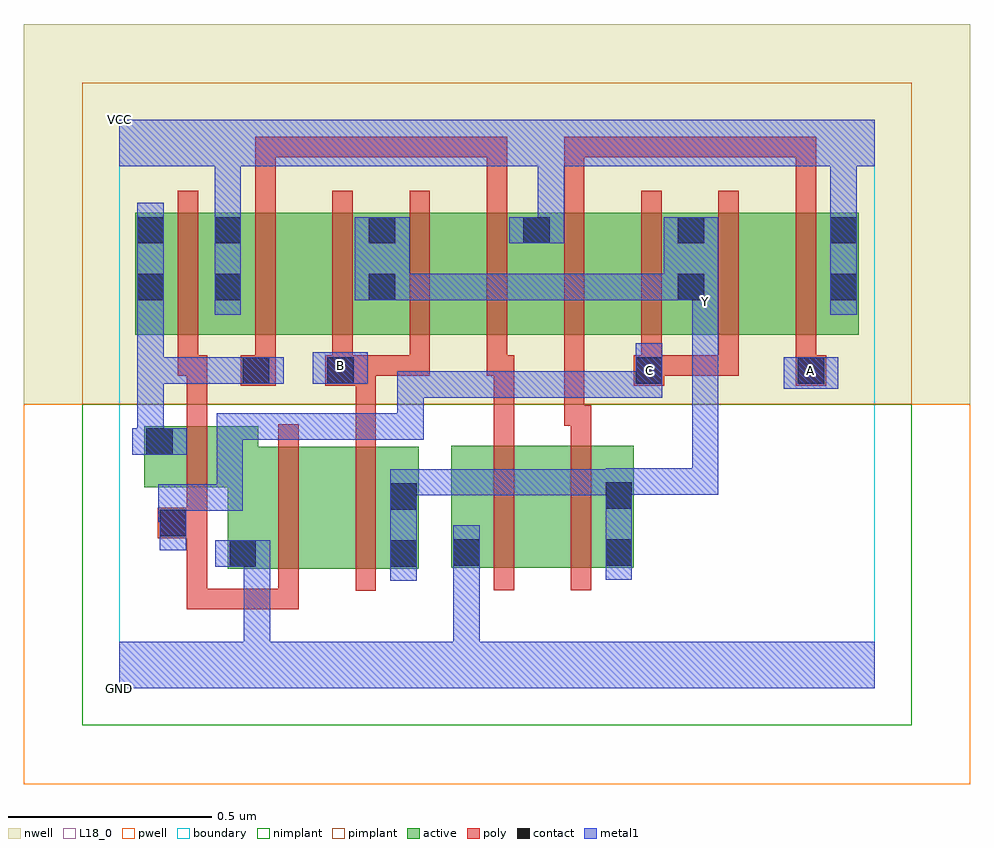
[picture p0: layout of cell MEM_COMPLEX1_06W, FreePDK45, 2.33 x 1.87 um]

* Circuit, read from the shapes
.subckt MEM_COMPLEX1_06W A B C GND VCC Y
M1 GND C n1 VSUBS nfet w=0.15u l=0.05u
M2 n2 C GND VSUBS nfet w=0.3u l=0.05u
M3 Y B n2 VSUBS nfet w=0.3u l=0.05u
M4 n3 n1 GND VSUBS nfet w=0.3u l=0.05u
M5 Y A n3 VSUBS nfet w=0.3u l=0.05u
M6 VCC C n1 n4 pfet w=0.3u l=0.05u
M7 n5 n1 VCC n4 pfet w=0.3u l=0.05u
M8 Y B n5 n4 pfet w=0.3u l=0.05u
M9 n6 B Y n4 pfet w=0.3u l=0.05u
M10 VCC n1 n6 n4 pfet w=0.3u l=0.05u
M11 n7 A VCC n4 pfet w=0.3u l=0.05u
M12 Y C n7 n4 pfet w=0.3u l=0.05u
M13 n8 C Y n4 pfet w=0.3u l=0.05u
M14 VCC A n8 n4 pfet w=0.3u l=0.05u
.ends

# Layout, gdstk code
import gdstk
lib = gdstk.Library(unit=1e-6, precision=1e-09)
def R(c, l, rs):  # rectangles x0, y0, x1, y1
    for r in rs: c.add(gdstk.rectangle(r[:2], r[2:], *l))
def A(c, l, x, y, w, h, nx, ny, dx, dy):  # array of equal rectangles
    R(c, l, [(x+i*dx, y+j*dy, x+i*dx+w, y+j*dy+h) for i in range(nx) for j in range(ny)])
active = (1, 0)
pwell = (2, 0)
nwell = (3, 0)
nimplant = (4, 0)
pimplant = (5, 0)
poly = (9, 0)
contact = (10, 0)
metal1 = (11, 0)
L18_0 = (18, 0)
boundary = (235, 0)

mem_complex1_06w = lib.new_cell('MEM_COMPLEX1_06W')
A(mem_complex1_06w, active, 0.23, 0.87, 0.075, 0.3, 4, 1, 0.38, 0)
A(mem_complex1_06w, active, 0.23, 0.87, 0.225, 0.3, 4, 1, 0.38, 0)
A(mem_complex1_06w, active, 0.455, 0.87, 0.23, 0.3, 3, 1, 0.38, 0)
R(mem_complex1_06w, active, [(0.267,0.295,0.512,0.595), (0.267,0.295,0.342,0.55), (0.512,0.295,0.737,0.595), (0.662,0.295,0.737,0.595), (0.817,0.297,0.892,0.597), (0.817,0.297,1.042,0.597), (1.042,0.297,1.267,0.597), (1.192,0.297,1.267,0.597), (0.062,0.495,0.342,0.645), (0.062,0.495,0.137,0.645), (0.04,0.87,0.305,1.17), (0.04,0.87,0.115,1.165), (1.595,0.87,1.82,1.17), (1.745,0.87,1.82,1.17)])
R(mem_complex1_06w, pwell, [(-0.235,-0.235,2.095,0.7)])
R(mem_complex1_06w, nwell, [(-0.235,0.7,2.095,1.635)])
R(mem_complex1_06w, nimplant, [(-0.09,-0.09,1.95,0.7)])
R(mem_complex1_06w, pimplant, [(-0.09,0.7,1.95,1.49)])
A(mem_complex1_06w, poly, 0.145, 0.77, 0.05, 0.095, 5, 1, 0.19, 0)
A(mem_complex1_06w, poly, 1.285, 0.77, 0.05, 0.095, 3, 1, 0.19, 0)
A(mem_complex1_06w, poly, 0.145, 0.815, 0.05, 0.41, 9, 1, 0.19, 0)
R(mem_complex1_06w, poly, [(0.167,0.195,0.217,0.245), (0.167,0.195,0.217,0.245), (0.167,0.195,0.217,0.245), (0.167,0.195,0.442,0.245), (0.167,0.195,0.217,0.42), (0.392,0.195,0.442,0.245), (0.392,0.195,0.442,0.29), (0.392,0.24,0.442,0.65), (0.582,0.24,0.632,0.65), (0.922,0.242,0.972,0.652), (1.112,0.242,1.162,0.652), (0.095,0.37,0.217,0.445), (0.167,0.395,0.217,0.49), (0.167,0.44,0.217,0.7), (0.582,0.6,0.632,0.795), (0.922,0.602,0.972,0.82), (1.112,0.602,1.162,0.697), (1.095,0.647,1.145,0.865), (1.095,0.647,1.162,0.697), (0.167,0.65,0.217,0.82), (0.3,0.745,0.385,0.82), (0.507,0.745,0.632,0.82), (1.267,0.745,1.342,0.82), (1.665,0.745,1.74,0.82), (0.145,0.77,0.217,0.82), (0.582,0.77,0.765,0.82), (0.715,0.77,0.765,0.82), (0.715,0.77,0.765,0.82), (0.715,0.77,0.765,0.82), (0.905,0.77,0.972,0.82), (1.292,0.77,1.525,0.82), (1.475,0.77,1.525,0.82), (1.475,0.77,1.525,0.82), (1.475,0.77,1.525,0.82), (0.335,1.175,0.385,1.357), (0.905,1.175,0.955,1.357), (1.095,1.175,1.145,1.357), (1.665,1.175,1.715,1.357), (0.335,1.307,0.385,1.357), (0.335,1.307,0.632,1.357), (0.582,1.307,0.632,1.357), (0.582,1.307,0.632,1.357), (0.582,1.307,0.632,1.357), (0.582,1.307,0.765,1.357), (0.715,1.307,0.765,1.357), (0.715,1.307,0.765,1.357), (0.715,1.307,0.765,1.357), (0.715,1.307,0.955,1.357), (0.905,1.307,0.955,1.357), (0.905,1.307,0.955,1.357), (0.905,1.307,0.955,1.357), (1.095,1.307,1.145,1.357), (1.095,1.307,1.392,1.357), (1.342,1.307,1.392,1.357), (1.342,1.307,1.392,1.357), (1.342,1.307,1.392,1.357), (1.342,1.307,1.545,1.357), (1.495,1.307,1.545,1.357), (1.495,1.307,1.545,1.357), (1.495,1.307,1.545,1.357), (1.495,1.307,1.715,1.357), (1.665,1.307,1.715,1.357), (1.665,1.307,1.715,1.357), (1.665,1.307,1.715,1.357)])
A(mem_complex1_06w, contact, 0.235, 1.095, 0.065, 0.065, 4, 1, 0.38, 0)
R(mem_complex1_06w, contact, [(0.272,0.3,0.337,0.365), (0.667,0.3,0.732,0.365), (0.822,0.302,0.887,0.367), (1.197,0.302,1.262,0.367), (0.1,0.375,0.165,0.44), (0.667,0.44,0.732,0.505), (1.197,0.442,1.262,0.507), (0.067,0.575,0.132,0.64), (0.305,0.75,0.37,0.815), (0.512,0.75,0.577,0.815), (1.272,0.75,1.337,0.815), (1.67,0.75,1.735,0.815), (0.045,0.955,0.11,1.02), (0.235,0.955,0.3,1.02), (0.615,0.955,0.68,1.02), (1.375,0.955,1.44,1.02), (1.75,0.955,1.815,1.02), (0.045,1.095,0.11,1.16), (1.75,1.095,1.815,1.16)])
A(mem_complex1_06w, metal1, 0.822, 0.475, 0.203, 0.065, 1, 3, 0, 0.24)
A(mem_complex1_06w, metal1, 0.96, 0.475, 0.202, 0.065, 1, 3, 0, 0.24)
R(mem_complex1_06w, metal1, [(0,0,1.86,0.115), (0.307,0.05,0.372,0.115), (0.307,0.05,0.372,0.115), (0.307,0.05,0.372,0.115), (0.307,0.05,0.372,0.115), (0.307,0.05,0.372,0.365), (0.822,0.05,0.887,0.332), (0.667,0.265,0.732,0.54), (0.822,0.267,0.887,0.332), (0.822,0.267,0.887,0.332), (0.822,0.267,0.887,0.332), (0.822,0.267,0.887,0.332), (0.822,0.267,0.887,0.402), (1.197,0.267,1.262,0.542), (0.237,0.3,0.372,0.365), (0.1,0.34,0.165,0.475), (0.097,0.41,0.162,0.475), (0.097,0.41,0.165,0.475), (0.097,0.41,0.162,0.502), (0.097,0.437,0.162,0.502), (0.097,0.437,0.162,0.502), (0.097,0.437,0.162,0.502), (0.097,0.437,0.305,0.502), (0.24,0.437,0.305,0.502), (0.24,0.437,0.305,0.677), (0.667,0.475,0.887,0.54), (0.822,0.475,0.887,0.54), (0.822,0.475,0.887,0.54), (0.822,0.475,0.887,0.54), (0.822,0.475,0.887,0.54), (0.822,0.475,0.887,0.54), (0.96,0.475,1.025,0.54), (0.96,0.475,1.025,0.54), (0.96,0.475,1.025,0.54), (1.097,0.475,1.162,0.54), (1.097,0.475,1.262,0.54), (1.197,0.477,1.475,0.542), (1.41,0.477,1.475,0.542), (1.41,0.477,1.475,0.542), (1.41,0.477,1.475,0.542), (1.41,0.477,1.475,0.95), (0.032,0.575,0.167,0.64), (0.045,0.575,0.11,0.815), (0.24,0.612,0.305,0.677), (0.24,0.612,0.305,0.677), (0.24,0.612,0.305,0.677), (0.24,0.612,0.505,0.677), (0.44,0.612,0.505,0.677), (0.44,0.612,0.505,0.677), (0.44,0.612,0.505,0.677), (0.44,0.612,0.75,0.677), (0.685,0.612,0.75,0.677), (0.685,0.612,0.75,0.78), (0.685,0.715,0.75,0.78), (0.685,0.715,0.887,0.78), (0.822,0.715,0.887,0.78), (0.822,0.715,0.887,0.78), (0.822,0.715,0.887,0.78), (0.96,0.715,1.025,0.78), (0.96,0.715,1.025,0.78), (0.96,0.715,1.025,0.78), (1.097,0.715,1.162,0.78), (1.097,0.715,1.162,0.78), (1.097,0.715,1.162,0.78), (1.097,0.715,1.337,0.78), (1.272,0.715,1.337,0.85), (1.635,0.737,1.77,0.815), (0.045,0.75,0.11,0.815), (0.045,0.75,0.11,0.815), (0.045,0.75,0.11,0.815), (0.045,0.75,0.335,0.815), (0.045,0.75,0.11,0.985), (0.27,0.75,0.335,0.815), (0.27,0.75,0.335,0.815), (0.27,0.75,0.405,0.815), (0.477,0.75,0.612,0.827), (1.41,0.885,1.475,1.02), (0.045,0.92,0.11,1.195), (0.235,0.92,0.3,1.195), (1.75,0.92,1.815,1.195), (0.58,0.955,0.715,1.16), (0.65,0.955,0.887,1.02), (0.822,0.955,0.887,1.02), (0.822,0.955,0.887,1.02), (0.822,0.955,0.887,1.02), (0.96,0.955,1.025,1.02), (0.96,0.955,1.025,1.02), (0.96,0.955,1.025,1.02), (1.097,0.955,1.162,1.02), (1.097,0.955,1.162,1.02), (1.097,0.955,1.162,1.02), (1.097,0.955,1.405,1.02), (1.34,0.955,1.405,1.02), (1.34,0.955,1.405,1.02), (1.34,0.955,1.475,1.16), (1.41,0.955,1.475,1.02), (0.96,1.095,1.095,1.16), (1.03,1.095,1.095,1.16), (1.03,1.095,1.095,1.16), (1.03,1.095,1.095,1.35), (0.235,1.13,0.3,1.35), (1.75,1.13,1.815,1.195), (1.75,1.13,1.815,1.195), (1.75,1.13,1.815,1.35), (0,1.285,1.86,1.4), (0.235,1.285,0.3,1.35), (0.235,1.285,0.3,1.35)])
A(mem_complex1_06w, L18_0, 0.822, 0.475, 0.203, 0.065, 1, 3, 0, 0.24)
A(mem_complex1_06w, L18_0, 0.96, 0.475, 0.202, 0.065, 1, 3, 0, 0.24)
R(mem_complex1_06w, L18_0, [(0,0,1.86,0.115), (0.307,0.05,0.372,0.115), (0.307,0.05,0.372,0.115), (0.307,0.05,0.372,0.115), (0.307,0.05,0.372,0.115), (0.307,0.05,0.372,0.365), (0.822,0.05,0.887,0.332), (0.667,0.265,0.732,0.54), (0.822,0.267,0.887,0.332), (0.822,0.267,0.887,0.332), (0.822,0.267,0.887,0.332), (0.822,0.267,0.887,0.332), (0.822,0.267,0.887,0.402), (1.197,0.267,1.262,0.542), (0.237,0.3,0.372,0.365), (0.1,0.34,0.165,0.475), (0.097,0.41,0.162,0.475), (0.097,0.41,0.162,0.502), (0.097,0.41,0.165,0.475), (0.097,0.437,0.162,0.502), (0.097,0.437,0.162,0.502), (0.097,0.437,0.162,0.502), (0.097,0.437,0.305,0.502), (0.24,0.437,0.305,0.502), (0.24,0.437,0.305,0.677), (0.667,0.475,0.887,0.54), (0.822,0.475,0.887,0.54), (0.822,0.475,0.887,0.54), (0.822,0.475,0.887,0.54), (0.822,0.475,0.887,0.54), (0.822,0.475,0.887,0.54), (0.96,0.475,1.025,0.54), (0.96,0.475,1.025,0.54), (0.96,0.475,1.025,0.54), (1.097,0.475,1.162,0.54), (1.097,0.475,1.262,0.54), (1.197,0.477,1.475,0.542), (1.41,0.477,1.475,0.542), (1.41,0.477,1.475,0.542), (1.41,0.477,1.475,0.542), (1.41,0.477,1.475,0.95), (0.24,0.612,0.305,0.677), (0.24,0.612,0.305,0.677), (0.24,0.612,0.305,0.677), (0.24,0.612,0.505,0.677), (0.44,0.612,0.505,0.677), (0.44,0.612,0.505,0.677), (0.44,0.612,0.505,0.677), (0.44,0.612,0.75,0.677), (0.685,0.612,0.75,0.677), (0.685,0.612,0.75,0.78), (0.685,0.715,0.75,0.78), (0.685,0.715,0.887,0.78), (0.822,0.715,0.887,0.78), (0.822,0.715,0.887,0.78), (0.822,0.715,0.887,0.78), (0.96,0.715,1.025,0.78), (0.96,0.715,1.025,0.78), (0.96,0.715,1.025,0.78), (1.097,0.715,1.162,0.78), (1.097,0.715,1.162,0.78), (1.097,0.715,1.162,0.78), (1.097,0.715,1.337,0.78), (1.272,0.715,1.337,0.85), (1.635,0.737,1.77,0.815), (0.477,0.75,0.612,0.827), (1.272,0.75,1.337,0.815), (1.67,0.75,1.735,0.815), (0.512,0.762,0.577,0.827), (1.41,0.885,1.475,1.02), (0.235,0.92,0.3,1.195), (1.41,0.92,1.475,0.985), (1.75,0.92,1.815,1.195), (0.58,0.955,0.715,1.16), (0.65,0.955,0.887,1.02), (0.822,0.955,0.887,1.02), (0.822,0.955,0.887,1.02), (0.822,0.955,0.887,1.02), (0.96,0.955,1.025,1.02), (0.96,0.955,1.025,1.02), (0.96,0.955,1.025,1.02), (1.097,0.955,1.162,1.02), (1.097,0.955,1.162,1.02), (1.097,0.955,1.162,1.02), (1.097,0.955,1.405,1.02), (1.34,0.955,1.405,1.02), (1.34,0.955,1.405,1.02), (1.34,0.955,1.475,1.16), (1.41,0.955,1.475,1.02), (0.96,1.095,1.095,1.16), (1.03,1.095,1.095,1.16), (1.03,1.095,1.095,1.16), (1.03,1.095,1.095,1.35), (0.235,1.13,0.3,1.35), (1.75,1.13,1.815,1.195), (1.75,1.13,1.815,1.195), (1.75,1.13,1.815,1.35), (0,1.285,1.86,1.4), (0.235,1.285,0.3,1.35), (0.235,1.285,0.3,1.35)])
R(mem_complex1_06w, boundary, [(0,0,1.86,1.4)])
mem_complex1_06w.add(gdstk.Label('A', (1.702,0.782), layer=11, texttype=0))
mem_complex1_06w.add(gdstk.Label('B', (0.545,0.795), layer=11, texttype=0))
mem_complex1_06w.add(gdstk.Label('C', (1.305,0.782), layer=11, texttype=0))
mem_complex1_06w.add(gdstk.Label('Y', (1.442,0.952), layer=11, texttype=0))
mem_complex1_06w.add(gdstk.Label('VCC', (0,1.4), layer=11, texttype=0))
mem_complex1_06w.add(gdstk.Label('GND', (0,0), layer=11, texttype=0))

lib.write_gds('MEM_COMPLEX1_06W.gds')
